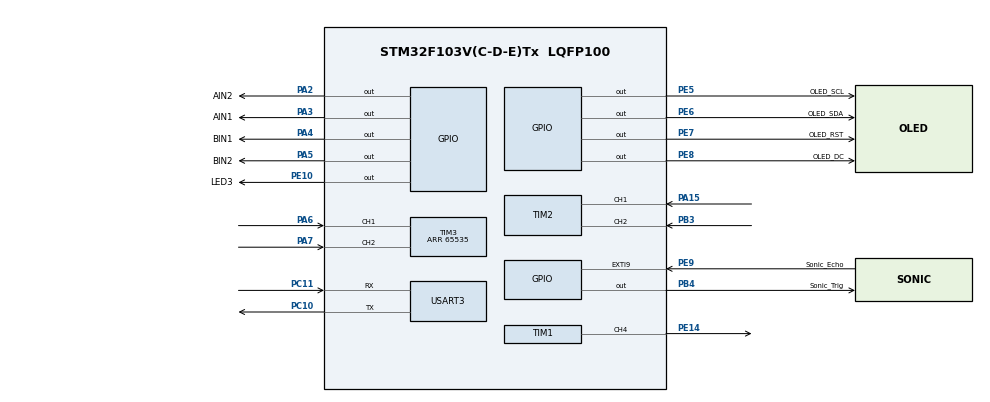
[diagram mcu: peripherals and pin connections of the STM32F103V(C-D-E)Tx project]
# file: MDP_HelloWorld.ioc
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FREERTOS.Queues01=myQueue01,16,uint16_t,0,Dynamic,NULL,NULL
FREERTOS.Tasks01=defaultTask,24,128,receiveAndTransmit,Default,NULL,Dynamic,NULL,NULL;ShowTask,8,128,show,Default,NULL,Dynamic,NULL,NULL;MotorTask,8,128,motors,Default,NULL,Dynamic,NULL,NULL;EncoderTask,8,128,encoder_task,Default,NULL,Dynamic,NULL,NULL;Motor_Turn,8,128,Turn,Default,NULL,Static,Motor_TurnBuffer,Motor_TurnControlBlock
Mcu.Family=STM32F1
Mcu.Name=STM32F103V(C-D-E)Tx
Mcu.Package=LQFP100
NVIC.EXTI9_5_IRQn=true\:5\:0\:false\:false\:true\:true\:true\:true
NVIC.PriorityGroup=NVIC_PRIORITYGROUP_4
NVIC.TIM1_CC_IRQn=true\:5\:0\:false\:false\:true\:true\:true\:true
NVIC.USART3_IRQn=true\:5\:0\:false\:false\:true\:true\:true\:true
PA15.Signal=S_TIM2_CH1_ETR
PA2.GPIO_Label=AIN2
PA2.GPIO_Speed=GPIO_SPEED_FREQ_HIGH
PA2.Signal=GPIO_Output
PA3.GPIO_Label=AIN1
PA3.GPIO_Speed=GPIO_SPEED_FREQ_HIGH
PA3.Signal=GPIO_Output
PA4.GPIO_Label=BIN1
PA4.GPIO_Speed=GPIO_SPEED_FREQ_HIGH
PA4.Signal=GPIO_Output
PA5.GPIO_Label=BIN2
PA5.GPIO_Speed=GPIO_SPEED_FREQ_HIGH
PA5.Signal=GPIO_Output
PA6.Signal=S_TIM3_CH1
PA7.Signal=S_TIM3_CH2
PB3.Signal=S_TIM2_CH2
PB4.GPIO_Label=Sonic_Trig
PB4.Signal=GPIO_Output
PC10.Mode=Asynchronous
PC10.Signal=USART3_TX
PC11.Mode=Asynchronous
PC11.Signal=USART3_RX
PC6.GPIO_Label=PWMA
PC6.Signal=S_TIM8_CH1
PC7.GPIO_Label=PWMB
PC7.Signal=S_TIM8_CH2
PE10.GPIO_Label=LED3
PE10.Signal=GPIO_Output
PE14.Signal=S_TIM1_CH4
PE5.GPIO_Label=OLED_SCL
PE5.Signal=GPIO_Output
PE6.GPIO_Label=OLED_SDA
PE6.Signal=GPIO_Output
PE7.GPIO_Label=OLED_RST
PE7.Signal=GPIO_Output
PE8.GPIO_Label=OLED_DC
PE8.Signal=GPIO_Output
PE9.GPIO_Label=Sonic_Echo
PE9.GPIO_ModeDefaultEXTI=GPIO_MODE_IT_RISING_FALLING
PE9.Signal=GPXTI9
ProjectManager.HeapSize=0x200
ProjectManager.StackSize=0x400
ProjectManager.TargetToolchain=STM32CubeIDE
RCC.APB1Freq_Value=8000000
RCC.APB2Freq_Value=8000000
SH.S_TIM1_CH4.0=TIM1_CH4,PWM Generation4 CH4
SH.S_TIM2_CH1_ETR.0=TIM2_CH1,Encoder_Interface
SH.S_TIM2_CH2.0=TIM2_CH2,Encoder_Interface
SH.S_TIM3_CH1.0=TIM3_CH1,Encoder_Interface
SH.S_TIM3_CH2.0=TIM3_CH2,Encoder_Interface
SH.S_TIM8_CH1.0=TIM8_CH1
SH.S_TIM8_CH2.0=TIM8_CH2
TIM1.AutoReloadPreload=TIM_AUTORELOAD_PRELOAD_ENABLE
TIM1.Channel-PWM\ Generation4\ CH4=TIM_CHANNEL_4
TIM1.Period=1000
TIM1.Prescaler=160
TIM2.EncoderMode=TIM_ENCODERMODE_TI12
TIM2.IC1Filter=10
TIM2.IC2Filter=10
TIM3.EncoderMode=TIM_ENCODERMODE_TI12
TIM3.IC1Filter=10
TIM3.IC2Filter=10
TIM3.Period=65535
TIM4.Period=0xffff-1
TIM4.Prescaler=72
TIM8.Channel-PWM\ Generation1\ No\ Output=TIM_CHANNEL_1
TIM8.Channel-PWM\ Generation2\ No\ Output=TIM_CHANNEL_2
TIM8.Period=7199
USART3.VirtualMode=VM_ASYNC
VP_FREERTOS_VS_CMSIS_V2.Mode=CMSIS_V2
VP_SYS_VS_ND.Mode=No_Debug
VP_TIM1_VS_ClockSourceINT.Mode=Internal
VP_TIM4_VS_ClockSourceINT.Mode=Internal
VP_TIM8_VS_ClockSourceINT.Mode=Internal
VP_TIM8_VS_no_output1.Mode=PWM Generation1 No Output
VP_TIM8_VS_no_output2.Mode=PWM Generation2 No Output
board=custom

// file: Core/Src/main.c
/* USER CODE BEGIN Header */
/**
  ******************************************************************************
  * @file           : main.c
  * @brief          : Main program body
  ******************************************************************************
  * @attention
  *
  * <h2><center>&copy; Copyright (c) 2021 STMicroelectronics.
  * All rights reserved.</center></h2>
  *
  * This software component is licensed by ST under BSD 3-Clause license,
  * the "License"; You may not use this file except in compliance with the
  * License. You may obtain a copy of the License at:
  *                        opensource.org/licenses/BSD-3-Clause
  *
  ******************************************************************************
  */
/* USER CODE END Header */
#include "main.h"
#include "cmsis_os.h"

/* USER CODE BEGIN Includes */
#include "oled.h"
#include "Pid.h"
/* USER CODE END Includes */

typedef StaticTask_t osStaticThreadDef_t;

TIM_HandleTypeDef htim1;
TIM_HandleTypeDef htim2;
TIM_HandleTypeDef htim3;
TIM_HandleTypeDef htim4;
TIM_HandleTypeDef htim8;

UART_HandleTypeDef huart3;

/* Definitions for defaultTask */
osThreadId_t defaultTaskHandle;
const osThreadAttr_t defaultTask_attributes = {
  .name = "defaultTask",
  .stack_size = 128 * 4,
  .priority = (osPriority_t) osPriorityNormal,
};
/* Definitions for ShowTask */
osThreadId_t ShowTaskHandle;
const osThreadAttr_t ShowTask_attributes = {
  .name = "ShowTask",
  .stack_size = 128 * 4,
  .priority = (osPriority_t) osPriorityLow,
};
/* Definitions for MotorTask */
osThreadId_t MotorTaskHandle;
const osThreadAttr_t MotorTask_attributes = {
  .name = "MotorTask",
  .stack_size = 128 * 4,
  .priority = (osPriority_t) osPriorityLow,
};
/* Definitions for EncoderTask */
osThreadId_t EncoderTaskHandle;
const osThreadAttr_t EncoderTask_attributes = {
  .name = "EncoderTask",
  .stack_size = 128 * 4,
  .priority = (osPriority_t) osPriorityLow,
};
/* Definitions for Motor_Turn */
osThreadId_t Motor_TurnHandle;
uint32_t Motor_TurnBuffer[ 128 ];
osStaticThreadDef_t Motor_TurnControlBlock;
const osThreadAttr_t Motor_Turn_attributes = {
  .name = "Motor_Turn",
  .cb_mem = &Motor_TurnControlBlock,
  .cb_size = sizeof(Motor_TurnControlBlock),
  .stack_mem = &Motor_TurnBuffer[0],
  .stack_size = sizeof(Motor_TurnBuffer),
  .priority = (osPriority_t) osPriorityLow,
};
/* Definitions for myQueue01 */
osMessageQueueId_t myQueue01Handle;
const osMessageQueueAttr_t myQueue01_attributes = {
  .name = "myQueue01"
};

void SystemClock_Config(void);
static void MX_GPIO_Init(void);
static void MX_TIM8_Init(void);
static void MX_TIM2_Init(void);
static void MX_TIM1_Init(void);
static void MX_USART3_UART_Init(void);
static void MX_TIM3_Init(void);
static void MX_TIM4_Init(void);
void receiveAndTransmit(void *argument);
void show(void *argument);
void motors(void *argument);
void encoder_task(void *argument);
void Turn(void *argument);

/* USER CODE BEGIN 0 */
uint8_t aRxBuffer[20];
uint8_t command[20];
uint8_t index=0;
uint8_t receive_msg[10] = {0};
uint16_t left_speed = 0;
uint16_t tar_left_speed = 0;
uint16_t right_speed = 0;
uint16_t tar_right_speed = 0;
uint16_t left_dir = '0';
uint16_t right_dir = '0';
uint16_t angel =72;
pidData_t m_pidData;
pidData_t* m_pidData_p;
uint32_t left_encoder_speed;
uint16_t left_ignore_time;

pidData_t m_pidData_right;
pidData_t* m_pidData_right_p;
uint32_t right_encoder_speed;
uint16_t right_ignore_time;

//used for sonic
uint32_t IC_Val1 = 0;
uint32_t IC_Val2 = 0;
uint32_t Difference = 0;
uint8_t Is_First_Capture = 0;
uint8_t Distance = 0;

//sending lock
uint8_t sending_size_in_transmit_fun = 0;

void my_PID_init()
{
	double m_kp = 0.3;
	double m_ki = 0.1;
	double m_kd = 0.1;
	ctrlDir_t m_controllerDir = PID_DIRECT;
	uint32_t m_samplePeriodMs = 200;

	m_pidData_p = &m_pidData;
	Pid_Init(m_pidData_p, m_kp, m_ki, m_kd, m_controllerDir, m_samplePeriodMs);

	m_pidData_right_p = &m_pidData_right;
	Pid_Init(m_pidData_right_p, m_kp, m_ki, m_kd, m_controllerDir, m_samplePeriodMs);
}

struct command1
{
	uint8_t mesg[20];
};

struct commandQueue
{
	int size;
	int capacity;
	int front;
	int rear;
	struct command1 command_set[25];//25 commands
};

struct commandQueue command_queue;

void Queue_init()
{
	command_queue.size = 0;
	command_queue.capacity = 25;
	command_queue.front = 0;//index of first command
	command_queue.rear = command_queue.capacity-1; // index of last command
}

int isEmpty()
{
	return (command_queue.size == 0);
}
int isFull()
{
	return (command_queue.size == command_queue.capacity);
}

int  getSize()
{
	return command_queue.size;
}

void Enqueue(uint8_t* command_in)
{
	//put a command at index rear
	if (isFull(command_queue))
	   return;
	command_queue.rear = (command_queue.rear + 1) % command_queue.capacity;
	//queue->commandSet[queue->rear] = command1_in;
	command_queue.size += 1;

	for(int i=0;i<20;i++){
		command_queue.command_set[command_queue.rear].mesg[i] = command_in[i];
	}
	//printf("%d enqueued to queue\n", item);
}

struct command1 Dequeue()
{
	/*
    if (isEmpty(command_queue))
        return command_queue.command_set[command_queue.front];
       */
    struct command1 command_out = command_queue.command_set[command_queue.front];
    command_queue.front = (command_queue.front + 1) % command_queue.capacity;
    command_queue.size = command_queue.size - 1;

    return command_out;
}

void update();
void process_command()
{

	uint8_t out_msg[20];
	uint16_t array_to_uint16_angel(uint8_t* uint8_array)
	{
		uint16_t res = 0;
		for(int i=0;i<3;i++){
			res*=10;
			res+=(uint8_array[i]-(uint8_t)48);
		}
		return res;
	}

	uint16_t array_to_uint16(uint8_t* uint8_array)
	{
		uint16_t res = 0;
		int len = sizeof(uint8_array)/sizeof(uint8_array[0]);
		for(int i=0;i<len;i++){
			res*=10;
			res+=(uint8_array[i]-(uint8_t)48);
		}
		return res;
	}

	if(!isEmpty())
	{
		struct command1 command_in_struct = Dequeue();
		uint8_t command_in[20];
		for(int i=0; i<20;i++)
		{
			command_in[i] = command_in_struct.mesg[i];
		}
		command_in[19]='\0';

		//get angel
		uint8_t cmd1[3] = {command_in[0],command_in[1],command_in[2]};
		//sscanf(cmd1, "%d", &angel);
		angel = array_to_uint16_angel(cmd1);

		sprintf(out_msg,"%s",command_in);//"%s",command_in);
		OLED_ShowString(0,0,out_msg);

		if(angel<59 ||angel>90)
			angel=72;

		//control for left wheel
		left_dir = command_in[3];
		right_dir = command_in[8];

		uint8_t cmd2[4] = {command_in[4],command_in[5],command_in[6],command_in[7]};
		uint8_t cmd3[4] = {command_in[9], command_in[10], command_in[11],command_in[12]};

		tar_left_speed = array_to_uint16(cmd2);
		left_speed = tar_left_speed;
		left_ignore_time = 0;
		m_pidData_p->output = tar_left_speed;
		m_pidData_p->prevOutput = tar_left_speed;
		Pid_SetSetPoint(m_pidData_p ,(double)tar_left_speed);
		Pid_SetOutputLimits(m_pidData_p, 0, 6000);

		tar_right_speed = array_to_uint16(cmd3);
		right_speed = tar_right_speed;
		right_ignore_time = 0;
		m_pidData_right_p->output = tar_right_speed;
		m_pidData_right_p->prevOutput = tar_right_speed;
		Pid_SetSetPoint(m_pidData_right_p ,(double)tar_right_speed);
		Pid_SetOutputLimits(m_pidData_right_p, 0, 6000);

		//Pid_SetOutputLimits(m_pidData_p,(tar_left_speed*0.5), (tar_left_speed*1.5));

		uint8_t cmd4[4] = {command_in[13], command_in[14], command_in[15],'0'};
		uint16_t time = array_to_uint16(cmd4);

		//call all the functions to quickly change all settings
		update();

		osDelay(time);
	}
}

void update()
{
//motor
	if(left_dir=='0')
	{
	  HAL_GPIO_WritePin(GPIOA,AIN2_Pin,GPIO_PIN_SET);
	  HAL_GPIO_WritePin(GPIOA,AIN1_Pin,GPIO_PIN_RESET);
	}else{
	  HAL_GPIO_WritePin(GPIOA,AIN2_Pin,GPIO_PIN_RESET);
	  HAL_GPIO_WritePin(GPIOA,AIN1_Pin,GPIO_PIN_SET);
	}

	// Modify the comparison value for the duty cycle
	if(right_dir=='0')
	{
	  HAL_GPIO_WritePin(GPIOA,BIN2_Pin,GPIO_PIN_SET);
	  HAL_GPIO_WritePin(GPIOA,BIN1_Pin,GPIO_PIN_RESET);
	}else{
	  HAL_GPIO_WritePin(GPIOA,BIN2_Pin,GPIO_PIN_RESET);
	  HAL_GPIO_WritePin(GPIOA,BIN1_Pin,GPIO_PIN_SET);
	}
	// Modify the comparison value for the duty cycle
	__HAL_TIM_SetCompare(&htim8,TIM_CHANNEL_1,left_speed);
	__HAL_TIM_SetCompare(&htim3,TIM_CHANNEL_2,right_speed);

//turn

	htim1.Instance->CCR4 = angel;

}

void HCSR04_Read()
{
	HAL_GPIO_WritePin(Sonic_Trig_GPIO_Port, Sonic_Trig_Pin, GPIO_PIN_SET);
	HAL_Delay(10);
	HAL_GPIO_WritePin(Sonic_Trig_GPIO_Port, Sonic_Trig_Pin, GPIO_PIN_RESET);
	__HAL_TIM_ENABLE_IT(&htim1, TIM_IT_CC1);
}
void send_queue_size()
{
	if(command_queue.size>=10)
		{//send two bytes, first is 0, next is the number, which ranges from 0-9
			uint8_t out_msg[1];
			sprintf(out_msg,"%d",(uint8_t)command_queue.size);
			HAL_UART_Transmit(&huart3,(uint8_t *)out_msg,2,0xFFFF);
		}else{
			//send two byte, directly
			uint16_t out_msg[2];
			sprintf(out_msg,"0%d",(uint8_t)command_queue.size);
			HAL_UART_Transmit(&huart3,(uint8_t *)out_msg,2,0xFFFF);
		}
}

void send_complete()//98
{
	uint16_t out_msg[2];
	sprintf(out_msg,"%d",98);
	HAL_UART_Transmit(&huart3,(uint8_t *)out_msg,2,0xFFFF);
}

void send_fin()//99
{
	uint16_t out_msg[2];
	sprintf(out_msg,"%d",99);
	HAL_UART_Transmit(&huart3,(uint8_t *)out_msg,2,0xFFFF);
}

/* USER CODE END 0 */

int main(void)
{
  /* USER CODE BEGIN 1 */
  index=0;
  /* USER CODE END 1 */

  /* MCU Configuration--------------------------------------------------------*/

  /* Reset of all peripherals, Initializes the Flash interface and the Systick. */
  HAL_Init();

  /* Configure the system clock */
  SystemClock_Config();

  /* Initialize all configured peripherals */
  MX_GPIO_Init();
  MX_TIM8_Init();
  MX_TIM2_Init();
  MX_TIM1_Init();
  MX_USART3_UART_Init();
  MX_TIM3_Init();
  MX_TIM4_Init();
  /* USER CODE BEGIN 2 */
  OLED_Init();

  HAL_UART_Receive_IT(&huart3,(uint8_t *) aRxBuffer,20);

  /* USER CODE END 2 */

  /* Init scheduler */
  osKernelInitialize();

  /* Create the queue(s) */
  /* creation of myQueue01 */
  myQueue01Handle = osMessageQueueNew (16, sizeof(uint16_t), &myQueue01_attributes);

  /* USER CODE BEGIN RTOS_QUEUES */
  /* add queues, ... */
  Queue_init();
  my_PID_init();
  /* USER CODE END RTOS_QUEUES */

  /* Create the thread(s) */
  /* creation of defaultTask */
  defaultTaskHandle = osThreadNew(receiveAndTransmit, NULL, &defaultTask_attributes);

  /* creation of ShowTask */
  ShowTaskHandle = osThreadNew(show, NULL, &ShowTask_attributes);

  /* creation of MotorTask */
  MotorTaskHandle = osThreadNew(motors, NULL, &MotorTask_attributes);

  /* creation of EncoderTask */
  EncoderTaskHandle = osThreadNew(encoder_task, NULL, &EncoderTask_attributes);

  /* creation of Motor_Turn */
  Motor_TurnHandle = osThreadNew(Turn, NULL, &Motor_Turn_attributes);

  /* Start scheduler */
  osKernelStart();

  /* We should never get here as control is now taken by the scheduler */
  /* Infinite loop */
  while (1)
  {

  }
}

void SystemClock_Config(void)
{
  RCC_OscInitTypeDef RCC_OscInitStruct = {0};
  RCC_ClkInitTypeDef RCC_ClkInitStruct = {0};

  /** Initializes the RCC Oscillators according to the specified parameters
  * in the RCC_OscInitTypeDef structure.
  */
  RCC_OscInitStruct.OscillatorType = RCC_OSCILLATORTYPE_HSI;
  RCC_OscInitStruct.HSIState = RCC_HSI_ON;
  RCC_OscInitStruct.HSICalibrationValue = RCC_HSICALIBRATION_DEFAULT;
  RCC_OscInitStruct.PLL.PLLState = RCC_PLL_NONE;
  if (HAL_RCC_OscConfig(&RCC_OscInitStruct) != HAL_OK)
  {
    Error_Handler();
  }
  /** Initializes the CPU, AHB and APB buses clocks
  */
  RCC_ClkInitStruct.ClockType = RCC_CLOCKTYPE_HCLK|RCC_CLOCKTYPE_SYSCLK
                              |RCC_CLOCKTYPE_PCLK1|RCC_CLOCKTYPE_PCLK2;
  RCC_ClkInitStruct.SYSCLKSource = RCC_SYSCLKSOURCE_HSI;
  RCC_ClkInitStruct.AHBCLKDivider = RCC_SYSCLK_DIV1;
  RCC_ClkInitStruct.APB1CLKDivider = RCC_HCLK_DIV1;
  RCC_ClkInitStruct.APB2CLKDivider = RCC_HCLK_DIV1;

  if (HAL_RCC_ClockConfig(&RCC_ClkInitStruct, FLASH_LATENCY_0) != HAL_OK)
  {
    Error_Handler();
  }
}

static void MX_TIM1_Init(void)
{

  TIM_ClockConfigTypeDef sClockSourceConfig = {0};
  TIM_MasterConfigTypeDef sMasterConfig = {0};
  TIM_OC_InitTypeDef sConfigOC = {0};
  TIM_BreakDeadTimeConfigTypeDef sBreakDeadTimeConfig = {0};

  htim1.Instance = TIM1;
  htim1.Init.Prescaler = 160;
  htim1.Init.CounterMode = TIM_COUNTERMODE_UP;
  htim1.Init.Period = 1000;
  htim1.Init.ClockDivision = TIM_CLOCKDIVISION_DIV1;
  htim1.Init.RepetitionCounter = 0;
  htim1.Init.AutoReloadPreload = TIM_AUTORELOAD_PRELOAD_ENABLE;
  if (HAL_TIM_Base_Init(&htim1) != HAL_OK)
  {
    Error_Handler();
  }
  sClockSourceConfig.ClockSource = TIM_CLOCKSOURCE_INTERNAL;
  if (HAL_TIM_ConfigClockSource(&htim1, &sClockSourceConfig) != HAL_OK)
  {
    Error_Handler();
  }
  if (HAL_TIM_PWM_Init(&htim1) != HAL_OK)
  {
    Error_Handler();
  }
  sMasterConfig.MasterOutputTrigger = TIM_TRGO_RESET;
  sMasterConfig.MasterSlaveMode = TIM_MASTERSLAVEMODE_DISABLE;
  if (HAL_TIMEx_MasterConfigSynchronization(&htim1, &sMasterConfig) != HAL_OK)
  {
    Error_Handler();
  }
  sConfigOC.OCMode = TIM_OCMODE_PWM1;
  sConfigOC.Pulse = 0;
  sConfigOC.OCPolarity = TIM_OCPOLARITY_HIGH;
  sConfigOC.OCFastMode = TIM_OCFAST_DISABLE;
  sConfigOC.OCIdleState = TIM_OCIDLESTATE_RESET;
  sConfigOC.OCNIdleState = TIM_OCNIDLESTATE_RESET;
  if (HAL_TIM_PWM_ConfigChannel(&htim1, &sConfigOC, TIM_CHANNEL_4) != HAL_OK)
  {
    Error_Handler();
  }
  sBreakDeadTimeConfig.OffStateRunMode = TIM_OSSR_DISABLE;
  sBreakDeadTimeConfig.OffStateIDLEMode = TIM_OSSI_DISABLE;
  sBreakDeadTimeConfig.LockLevel = TIM_LOCKLEVEL_OFF;
  sBreakDeadTimeConfig.DeadTime = 0;
  sBreakDeadTimeConfig.BreakState = TIM_BREAK_DISABLE;
  sBreakDeadTimeConfig.BreakPolarity = TIM_BREAKPOLARITY_HIGH;
  sBreakDeadTimeConfig.AutomaticOutput = TIM_AUTOMATICOUTPUT_DISABLE;
  if (HAL_TIMEx_ConfigBreakDeadTime(&htim1, &sBreakDeadTimeConfig) != HAL_OK)
  {
    Error_Handler();
  }
  HAL_TIM_MspPostInit(&htim1);

}

static void MX_TIM2_Init(void)
{

  TIM_Encoder_InitTypeDef sConfig = {0};
  TIM_MasterConfigTypeDef sMasterConfig = {0};

  htim2.Instance = TIM2;
  htim2.Init.Prescaler = 0;
  htim2.Init.CounterMode = TIM_COUNTERMODE_UP;
  htim2.Init.Period = 65535;
  htim2.Init.ClockDivision = TIM_CLOCKDIVISION_DIV1;
  htim2.Init.AutoReloadPreload = TIM_AUTORELOAD_PRELOAD_DISABLE;
  sConfig.EncoderMode = TIM_ENCODERMODE_TI12;
  sConfig.IC1Polarity = TIM_ICPOLARITY_RISING;
  sConfig.IC1Selection = TIM_ICSELECTION_DIRECTTI;
  sConfig.IC1Prescaler = TIM_ICPSC_DIV1;
  sConfig.IC1Filter = 10;
  sConfig.IC2Polarity = TIM_ICPOLARITY_RISING;
  sConfig.IC2Selection = TIM_ICSELECTION_DIRECTTI;
  sConfig.IC2Prescaler = TIM_ICPSC_DIV1;
  sConfig.IC2Filter = 10;
  if (HAL_TIM_Encoder_Init(&htim2, &sConfig) != HAL_OK)
  {
    Error_Handler();
  }
  sMasterConfig.MasterOutputTrigger = TIM_TRGO_RESET;
  sMasterConfig.MasterSlaveMode = TIM_MASTERSLAVEMODE_DISABLE;
  if (HAL_TIMEx_MasterConfigSynchronization(&htim2, &sMasterConfig) != HAL_OK)
  {
    Error_Handler();
  }

}

static void MX_TIM3_Init(void)
{

  TIM_Encoder_InitTypeDef sConfig = {0};
  TIM_MasterConfigTypeDef sMasterConfig = {0};

  htim3.Instance = TIM3;
  htim3.Init.Prescaler = 0;
  htim3.Init.CounterMode = TIM_COUNTERMODE_UP;
  htim3.Init.Period = 65535;
  htim3.Init.ClockDivision = TIM_CLOCKDIVISION_DIV1;
  htim3.Init.AutoReloadPreload = TIM_AUTORELOAD_PRELOAD_DISABLE;
  sConfig.EncoderMode = TIM_ENCODERMODE_TI12;
  sConfig.IC1Polarity = TIM_ICPOLARITY_RISING;
  sConfig.IC1Selection = TIM_ICSELECTION_DIRECTTI;
  sConfig.IC1Prescaler = TIM_ICPSC_DIV1;
  sConfig.IC1Filter = 10;
  sConfig.IC2Polarity = TIM_ICPOLARITY_RISING;
  sConfig.IC2Selection = TIM_ICSELECTION_DIRECTTI;
  sConfig.IC2Prescaler = TIM_ICPSC_DIV1;
  sConfig.IC2Filter = 10;
  if (HAL_TIM_Encoder_Init(&htim3, &sConfig) != HAL_OK)
  {
    Error_Handler();
  }
  sMasterConfig.MasterOutputTrigger = TIM_TRGO_RESET;
  sMasterConfig.MasterSlaveMode = TIM_MASTERSLAVEMODE_DISABLE;
  if (HAL_TIMEx_MasterConfigSynchronization(&htim3, &sMasterConfig) != HAL_OK)
  {
    Error_Handler();
  }

}

static void MX_TIM4_Init(void)
{

  TIM_ClockConfigTypeDef sClockSourceConfig = {0};
  TIM_MasterConfigTypeDef sMasterConfig = {0};

  htim4.Instance = TIM4;
  htim4.Init.Prescaler = 72;
  htim4.Init.CounterMode = TIM_COUNTERMODE_UP;
  htim4.Init.Period = 0xffff-1;
  htim4.Init.ClockDivision = TIM_CLOCKDIVISION_DIV1;
  htim4.Init.AutoReloadPreload = TIM_AUTORELOAD_PRELOAD_DISABLE;
  if (HAL_TIM_Base_Init(&htim4) != HAL_OK)
  {
    Error_Handler();
  }
  sClockSourceConfig.ClockSource = TIM_CLOCKSOURCE_INTERNAL;
  if (HAL_TIM_ConfigClockSource(&htim4, &sClockSourceConfig) != HAL_OK)
  {
    Error_Handler();
  }
  sMasterConfig.MasterOutputTrigger = TIM_TRGO_RESET;
  sMasterConfig.MasterSlaveMode = TIM_MASTERSLAVEMODE_DISABLE;
  if (HAL_TIMEx_MasterConfigSynchronization(&htim4, &sMasterConfig) != HAL_OK)
  {
    Error_Handler();
  }

}

static void MX_TIM8_Init(void)
{

  TIM_ClockConfigTypeDef sClockSourceConfig = {0};
  TIM_MasterConfigTypeDef sMasterConfig = {0};
  TIM_OC_InitTypeDef sConfigOC = {0};
  TIM_BreakDeadTimeConfigTypeDef sBreakDeadTimeConfig = {0};

  htim8.Instance = TIM8;
  htim8.Init.Prescaler = 0;
  htim8.Init.CounterMode = TIM_COUNTERMODE_UP;
  htim8.Init.Period = 7199;
  htim8.Init.ClockDivision = TIM_CLOCKDIVISION_DIV1;
  htim8.Init.RepetitionCounter = 0;
  htim8.Init.AutoReloadPreload = TIM_AUTORELOAD_PRELOAD_DISABLE;
  if (HAL_TIM_Base_Init(&htim8) != HAL_OK)
  {
    Error_Handler();
  }
  sClockSourceConfig.ClockSource = TIM_CLOCKSOURCE_INTERNAL;
  if (HAL_TIM_ConfigClockSource(&htim8, &sClockSourceConfig) != HAL_OK)
  {
    Error_Handler();
  }
  if (HAL_TIM_PWM_Init(&htim8) != HAL_OK)
  {
    Error_Handler();
  }
  sMasterConfig.MasterOutputTrigger = TIM_TRGO_RESET;
  sMasterConfig.MasterSlaveMode = TIM_MASTERSLAVEMODE_DISABLE;
  if (HAL_TIMEx_MasterConfigSynchronization(&htim8, &sMasterConfig) != HAL_OK)
  {
    Error_Handler();
  }
  sConfigOC.OCMode = TIM_OCMODE_PWM1;
  sConfigOC.Pulse = 0;
  sConfigOC.OCPolarity = TIM_OCPOLARITY_HIGH;
  sConfigOC.OCNPolarity = TIM_OCNPOLARITY_HIGH;
  sConfigOC.OCFastMode = TIM_OCFAST_DISABLE;
  sConfigOC.OCIdleState = TIM_OCIDLESTATE_RESET;
  sConfigOC.OCNIdleState = TIM_OCNIDLESTATE_RESET;
  if (HAL_TIM_PWM_ConfigChannel(&htim8, &sConfigOC, TIM_CHANNEL_1) != HAL_OK)
  {
    Error_Handler();
  }
  if (HAL_TIM_PWM_ConfigChannel(&htim8, &sConfigOC, TIM_CHANNEL_2) != HAL_OK)
  {
    Error_Handler();
  }
  sBreakDeadTimeConfig.OffStateRunMode = TIM_OSSR_DISABLE;
  sBreakDeadTimeConfig.OffStateIDLEMode = TIM_OSSI_DISABLE;
  sBreakDeadTimeConfig.LockLevel = TIM_LOCKLEVEL_OFF;
  sBreakDeadTimeConfig.DeadTime = 0;
  sBreakDeadTimeConfig.BreakState = TIM_BREAK_DISABLE;
  sBreakDeadTimeConfig.BreakPolarity = TIM_BREAKPOLARITY_HIGH;
  sBreakDeadTimeConfig.AutomaticOutput = TIM_AUTOMATICOUTPUT_DISABLE;
  if (HAL_TIMEx_ConfigBreakDeadTime(&htim8, &sBreakDeadTimeConfig) != HAL_OK)
  {
    Error_Handler();
  }

}

static void MX_USART3_UART_Init(void)
{

  huart3.Instance = USART3;
  huart3.Init.BaudRate = 115200;
  huart3.Init.WordLength = UART_WORDLENGTH_8B;
  huart3.Init.StopBits = UART_STOPBITS_1;
  huart3.Init.Parity = UART_PARITY_NONE;
  huart3.Init.Mode = UART_MODE_TX_RX;
  huart3.Init.HwFlowCtl = UART_HWCONTROL_NONE;
  huart3.Init.OverSampling = UART_OVERSAMPLING_16;
  if (HAL_UART_Init(&huart3) != HAL_OK)
  {
    Error_Handler();
  }

}

static void MX_GPIO_Init(void)
{
  GPIO_InitTypeDef GPIO_InitStruct = {0};

  /* GPIO Ports Clock Enable */
  __HAL_RCC_GPIOE_CLK_ENABLE();
  __HAL_RCC_GPIOA_CLK_ENABLE();
  __HAL_RCC_GPIOC_CLK_ENABLE();
  __HAL_RCC_GPIOB_CLK_ENABLE();

  /*Configure GPIO pin Output Level */
  HAL_GPIO_WritePin(GPIOE, OLED_SCL_Pin|OLED_SDA_Pin|OLED_RST_Pin|OLED_DC_Pin
                          |LED3_Pin, GPIO_PIN_RESET);

  /*Configure GPIO pin Output Level */
  HAL_GPIO_WritePin(GPIOA, AIN2_Pin|AIN1_Pin|BIN1_Pin|BIN2_Pin, GPIO_PIN_RESET);

  /*Configure GPIO pin Output Level */
  HAL_GPIO_WritePin(Sonic_Trig_GPIO_Port, Sonic_Trig_Pin, GPIO_PIN_RESET);

  /*Configure GPIO pins : OLED_SCL_Pin OLED_SDA_Pin OLED_RST_Pin OLED_DC_Pin
                           LED3_Pin */
  GPIO_InitStruct.Pin = OLED_SCL_Pin|OLED_SDA_Pin|OLED_RST_Pin|OLED_DC_Pin
                          |LED3_Pin;
  GPIO_InitStruct.Mode = GPIO_MODE_OUTPUT_PP;
  GPIO_InitStruct.Pull = GPIO_NOPULL;
  GPIO_InitStruct.Speed = GPIO_SPEED_FREQ_LOW;
  HAL_GPIO_Init(GPIOE, &GPIO_InitStruct);

  /*Configure GPIO pins : AIN2_Pin AIN1_Pin BIN1_Pin BIN2_Pin */
  GPIO_InitStruct.Pin = AIN2_Pin|AIN1_Pin|BIN1_Pin|BIN2_Pin;
  GPIO_InitStruct.Mode = GPIO_MODE_OUTPUT_PP;
  GPIO_InitStruct.Pull = GPIO_NOPULL;
  GPIO_InitStruct.Speed = GPIO_SPEED_FREQ_HIGH;
  HAL_GPIO_Init(GPIOA, &GPIO_InitStruct);

  /*Configure GPIO pin : Sonic_Echo_Pin */
  GPIO_InitStruct.Pin = Sonic_Echo_Pin;
  GPIO_InitStruct.Mode = GPIO_MODE_IT_RISING_FALLING;
  GPIO_InitStruct.Pull = GPIO_NOPULL;
  HAL_GPIO_Init(Sonic_Echo_GPIO_Port, &GPIO_InitStruct);

  /*Configure GPIO pin : Sonic_Trig_Pin */
  GPIO_InitStruct.Pin = Sonic_Trig_Pin;
  GPIO_InitStruct.Mode = GPIO_MODE_OUTPUT_PP;
  GPIO_InitStruct.Pull = GPIO_NOPULL;
  GPIO_InitStruct.Speed = GPIO_SPEED_FREQ_LOW;
  HAL_GPIO_Init(Sonic_Trig_GPIO_Port, &GPIO_InitStruct);

  /* EXTI interrupt init*/
  HAL_NVIC_SetPriority(EXTI9_5_IRQn, 5, 0);
  HAL_NVIC_EnableIRQ(EXTI9_5_IRQn);

}

/* USER CODE BEGIN 4 */
void HAL_UART_RxCpltCallback(UART_HandleTypeDef *huart)
{
	/*Prevent unused argument(s) compilation warning */
	//UNUSED(huart);
	//to show that the device has successful connection, we toggle the LED when new data is received
	HAL_GPIO_TogglePin(LED3_GPIO_Port, LED3_Pin);

	//get the data received
	HAL_UART_Receive_IT(&huart3, (uint8_t *)receive_msg, 1);

	//"|" is a special character that marks the end of the command
	if(receive_msg[0]=='|')
	{
		//ensure the least length of the received command
		//if enough, enqueue the command to task queue
		//and set index to first to receive new data
		if (command[15]!=' ')
			Enqueue(command);
		index=0;
		//if not enough, it is viewed as invalid
		for(int i=0; i<20;i++) command[i] = ' ';
	}else{
		//"?" is for abort
		if(receive_msg[0]=='?' || index==20){
			index=0;
			//clear current receiving command
			for(int i=0; i<20;i++) command[i] = ' ';
			//clear saved and undone command from task queue
			while(command_queue.size>0) Dequeue();
			//create a idol command, and put robot to idol
			uint8_t default_command[20] = "0760000000000300";
			Enqueue(default_command);
		    process_command();
		}
		else{
			//not "|" or "?", then receiving part command,
			command[index] = receive_msg[0];
			index++;
		}
	}
}

void HAL_GPIO_EXTI_Callback(uint16_t GPIO_Pin){
	if(GPIO_Pin == Sonic_Echo_Pin)
	{
		HAL_GPIO_TogglePin(LED3_GPIO_Port, LED3_Pin);
		if(Is_First_Capture==0)
		{
			//IC_Val1 = HAL_TIM_ReadCaptureValue(htim, TIM_CHANNEL_1);
			IC_Val1 = __HAL_TIM_GET_COUNTER(&htim4);
			Is_First_Capture=1;
		}else if(Is_First_Capture==1)
		{
			//IC_Val2 = HAL_TIM_ReadCaptureValue(htim, TIM_CHANNEL_1);
			IC_Val2 = __HAL_TIM_GET_COUNTER(&htim4);
			__HAL_TIM_SET_COUNTER(&htim4, 0);
			//they set the timer to 0 but we are not

			if(IC_Val2 > IC_Val1)
			{
				Difference = IC_Val2 - IC_Val1;
			}else if(IC_Val1 >IC_Val2)
			{
				Difference = ((1000) - IC_Val1 ) + IC_Val2;
			}

			Distance = ((Difference *0.68)*10)/45;
			Is_First_Capture = 0;
		}
	}

}

/* USER CODE END 4 */

void receiveAndTransmit(void *argument)
{
  /* USER CODE BEGIN 5 */
  /* Infinite loop */
  //default command, front wheels forward, back wheels stop, as idol state
 //continues for 3s
  uint8_t default_command[20] = "0760000000000300";
  for(;;)
  {

	  //central part for checking command
	  //one command finished, then come here to see if got new command
	  //if no new command, it will just enqueue a default idol command for robot to execute
	  if(!isEmpty())
	  {
		  //got command undone, do the command in task queue
		  process_command();
		  sending_size_in_transmit_fun=1;
		  if(command_queue.size==0)
		  {
			  send_fin();
		  }else
		  {
			  send_complete();
		  }
		  sending_size_in_transmit_fun=0;
	  }else
	  {
		  //no new undone command, execute the default command
		  Enqueue(default_command);
		  process_command();
	  }
	  //toggle the LED to see if the program is still functioning
	  //HAL_GPIO_TogglePin(LED3_GPIO_Port, LED3_Pin);
  }
  /* USER CODE END 5 */
}

void show(void *argument)
{
  /* USER CODE BEGIN show */
  //uint8_t hello[20] = "Hello World!\0";
	HAL_TIM_Base_Start(&htim4);
  /* Infinite loop */
  for(;;)
  {
	//part where the stm broad transmit data to rpi
	  //content is the number of the command in task queue
	  //task queue's max length is 25, so the rpi should avoid sending new command when length reaches 25

	//we want to send the length in two bytes, so number below 10 is processed differently
	//we pad a 0 before

	  //display dis and tick

	  uint32_t out_msg_sonic[20];
	  sprintf(out_msg_sonic,"                ");
	  OLED_ShowString(0,30,out_msg_sonic);
	  OLED_ShowString(0,40,out_msg_sonic);
	  OLED_ShowString(0,50,out_msg_sonic);
	  sprintf(out_msg_sonic,"distance :%d",Distance+100);
	  OLED_ShowString(0,30,out_msg_sonic);
	  sprintf(out_msg_sonic,"tick :%d",HAL_GetTick());
	  OLED_ShowString(0,40,out_msg_sonic);

	  Is_First_Capture=0;
	  HCSR04_Read();

	  if(sending_size_in_transmit_fun==0)
	  {
		  send_queue_size();

	  }
	  osDelay(100);

	  uint16_t out_msg[3];
	  sprintf(out_msg,"%d",Distance+100);
	  HAL_UART_Transmit(&huart3,(uint8_t *)out_msg,3,0xFFFF);

	  OLED_Refresh_Gram();
	  osDelay(400);
  }
  /* USER CODE END show */
}

void motors(void *argument)
{
  /* USER CODE BEGIN motors */

	//actually this part of the code is not so useful for our program
	//the setting is modified in update() function
	//this thread, changes speed  every 2s, but this change is not needed

//start the PWM signal
  HAL_TIM_PWM_Start(&htim8,TIM_CHANNEL_1);
  HAL_TIM_PWM_Start(&htim8,TIM_CHANNEL_2);
  /* Infinite loop */
  for(;;)
  {
	  //the old pid algo
	  //given up as it doesn't provide much help
	  //and possible cause unstable actions
	  /*
	  if( left_ignore_time > 5)
	  {
		  if( left_encoder_speed < 50000)
		  {
			  Pid_Run(m_pidData_p, (double)left_encoder_speed);
			  double new_left_change = m_pidData_p->output;

			  left_speed = (uint16_t)new_left_change;

			  uint16_t out_msg[20];
			  sprintf(out_msg,"                ");
			  OLED_Refresh_Gram();
		  }
	  }else
	  {
		  left_ignore_time+=1;
	  }

	  if( right_ignore_time > 5)
	  	  {
	  		  if( right_encoder_speed < 50000)
	  		  {
	  			  Pid_Run(m_pidData_right_p, (double)right_encoder_speed);
	  			  double new_right_change = m_pidData_right_p->output;

	  			  right_speed = (uint16_t)new_right_change;

	  		  }
	  	  }else
	  	  {
	  		  right_ignore_time+=1;
	  	  }
	  //displaying
	  uint16_t out_msg[20];
	  sprintf(out_msg,"                ");
	  OLED_ShowString(0,30,out_msg);
	  OLED_ShowString(0,40,out_msg);
	  OLED_ShowString(0,50,out_msg);
	  sprintf(out_msg,"enc speed:%d",right_encoder_speed);
	  OLED_ShowString(0,30,out_msg);
	  sprintf(out_msg,"pwm speed:%d",right_speed);
	  OLED_ShowString(0,40,out_msg);
	  OLED_Refresh_Gram();
	  */

	  //set the direction of the left wheel, 0 for forward and 1 for backward
	  if(left_dir=='0')
	  {
		  HAL_GPIO_WritePin(GPIOA,AIN2_Pin,GPIO_PIN_SET);
		  HAL_GPIO_WritePin(GPIOA,AIN1_Pin,GPIO_PIN_RESET);
	  }else{
		  HAL_GPIO_WritePin(GPIOA,AIN2_Pin,GPIO_PIN_RESET);
		  HAL_GPIO_WritePin(GPIOA,AIN1_Pin,GPIO_PIN_SET);
	  }
	  //set the speed of the left wheel

	  //set the direction of the right wheel, 0 for forward and 1 for backward
	  if(right_dir=='0')
	  {
		  HAL_GPIO_WritePin(GPIOA,BIN2_Pin,GPIO_PIN_SET);
		  HAL_GPIO_WritePin(GPIOA,BIN1_Pin,GPIO_PIN_RESET);
	  }else{
		  HAL_GPIO_WritePin(GPIOA,BIN2_Pin,GPIO_PIN_RESET);
		  HAL_GPIO_WritePin(GPIOA,BIN1_Pin,GPIO_PIN_SET);
	  }
	  //set the speed of the right wheel
	  __HAL_TIM_SetCompare(&htim8,TIM_CHANNEL_1,left_speed);
	  __HAL_TIM_SetCompare(&htim8,TIM_CHANNEL_2,right_speed);
	  osDelay(200);
  }

  /* USER CODE END motors */
}

void encoder_task(void *argument)
{
  /* USER CODE BEGIN encoder_task */
  /* Infinite loop */

  //the encoder seems to be able to tell the direction of the wheel
  //it counts up when forward and count down
  //but since pid is not used
  //encoder doesn't have much usage already
  //also the encoder seems to be updating very slow, 1s every time

  //principle
  //there two counters, cnt1 and cnt2
  //every 0.1s, cnt1 records the current value of the timer's counter
  //at the end of the next 0.1s, before cnt1's update, cnt2 gets the value of the timer's counter
  //by do deduction on cnt1 and cnt2, we get how much the counter has changed
  //this allows us to get roughly how much the wheel has turned

  //start the timer
  HAL_TIM_Encoder_Start(&htim2,TIM_CHANNEL_ALL);
  HAL_TIM_Encoder_Start(&htim3,TIM_CHANNEL_ALL);

  //tick for the system
  uint32_t tick;
  //value for measuring wheel's pin
  int left_cnt1, left_cnt2, left_diff;
  int right_cnt1, right_cnt2, right_diff;
  uint16_t left_dir;
  uint16_t right_dir;

  //mesg buffer for sending for showing the mesg on OLED
  uint8_t hello[20];

  //get the tick of the system
  tick = HAL_GetTick();

  //get the counter1
  left_cnt1 = __HAL_TIM_GET_COUNTER(&htim2);
  right_cnt1 = __HAL_TIM_GET_COUNTER(&htim3);

  //we will only explain the left wheel encoder, left wheel is the same idea
  for(;;)
  {
	//make sure the time passed 1000L, this is the system timer
	if(HAL_GetTick()-tick > 1000L){
		//get the value of the counter 2
		left_cnt2 = __HAL_TIM_GET_COUNTER(&htim2);
		if(__HAL_TIM_IS_TIM_COUNTING_DOWN(&htim2)){
			if(left_cnt2<=left_cnt1)
				left_diff = left_cnt1 - left_cnt2;
			else
				left_diff = (65535 - left_cnt2)+left_cnt1;
		}
		else{
			if(left_cnt2 >= left_cnt1)
				left_diff = left_cnt2 - left_cnt1;
			else
				left_diff = (65535 - left_cnt1) + left_cnt2;
		}

		//display the rotation speed
		/*
		sprintf(hello,"%5d\0",left_diff);
		left_encoder_speed = left_diff;
		OLED_ShowString(0,40,hello);
		left_dir = __HAL_TIM_IS_TIM_COUNTING_DOWN(&htim2);
		sprintf(hello,"%5d\0",left_dir);
		OLED_ShowString(40,40,hello);
		left_cnt1 = __HAL_TIM_GET_COUNTER(&htim2);
		*/

		//right wheel
		right_cnt2 = __HAL_TIM_GET_COUNTER(&htim3);
		if(__HAL_TIM_IS_TIM_COUNTING_DOWN(&htim3))
		{
			if(right_cnt2<=right_cnt1)
				right_diff = right_cnt1 - right_cnt2;
			else{
				right_diff = (65535 - right_cnt2)+right_cnt1;
			}
		}else{
			if(right_cnt2 >= right_cnt1){
				right_diff = right_cnt2 - right_cnt1;
			}else{
				right_diff = (65535 - right_cnt1) + right_cnt2;
			}
		}
		right_cnt1 = __HAL_TIM_GET_COUNTER(&htim3);
		tick = HAL_GetTick();

		//display the rotation speed
		/*
		sprintf(hello,"%5d\0",right_diff);
		right_encoder_speed = right_diff;
		OLED_ShowString(0,50,hello);
		right_dir = __HAL_TIM_IS_TIM_COUNTING_DOWN(&htim3);
		sprintf(hello,"%5d\0",right_dir);
		OLED_ShowString(40,50,hello);

		OLED_Refresh_Gram();
		*/

	}
    osDelay(100);
  }
  /* USER CODE END encoder_task */
}

void Turn(void *argument)
{
  /* USER CODE BEGIN Turn */
  /* Infinite loop */

	//similar to motor, this part of the code is not so useful for our program
	//the setting is modified in update() function
	//this thread, front wheel's angle every 0.1s, but this change is not needed

	//start the timer PWM
	HAL_TIM_PWM_Start(&htim1,TIM_CHANNEL_4);
	for(;;)
	{
		//set the front wheels' angle
		htim1.Instance->CCR4 = angel;//I typed wrongly
		osDelay(100);
	}
  /* USER CODE END Turn */
}

void Error_Handler(void)
{
  __disable_irq();
  while (1)
  {
  }
}

/************************ (C) COPYRIGHT STMicroelectronics *****END OF FILE****/
